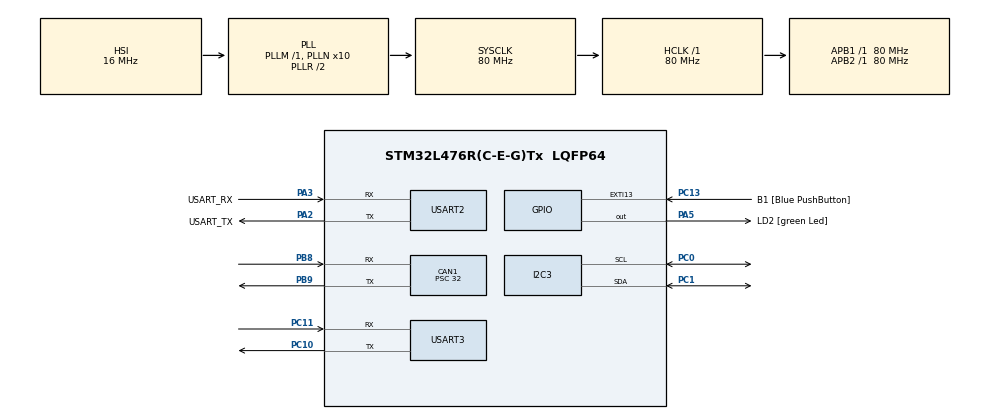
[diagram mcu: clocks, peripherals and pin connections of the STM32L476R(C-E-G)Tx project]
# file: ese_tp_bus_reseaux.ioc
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CAN1.BS1=CAN_BS1_3TQ
CAN1.CalculateBaudRate=500000
CAN1.CalculateTimeBit=2000.00
CAN1.CalculateTimeQuantum=400.0
CAN1.Prescaler=32
I2C3.Timing=0x10909CEC
Mcu.Family=STM32L4
Mcu.Name=STM32L476R(C-E-G)Tx
Mcu.Package=LQFP64
NVIC.PriorityGroup=NVIC_PRIORITYGROUP_4
NVIC.USART2_IRQn=true\:0\:0\:false\:false\:true\:true\:true
NVIC.USART3_IRQn=true\:0\:0\:false\:false\:true\:true\:true
PA13\ (JTMS-SWDIO).GPIO_Label=TMS
PA13\ (JTMS-SWDIO).Mode=Serial_Wire
PA13\ (JTMS-SWDIO).Signal=SYS_JTMS-SWDIO
PA14\ (JTCK-SWCLK).GPIO_Label=TCK
PA14\ (JTCK-SWCLK).Mode=Serial_Wire
PA14\ (JTCK-SWCLK).Signal=SYS_JTCK-SWCLK
PA2.GPIO_Label=USART_TX
PA2.GPIO_Mode=GPIO_MODE_AF_PP
PA2.GPIO_PuPd=GPIO_NOPULL
PA2.GPIO_Speed=GPIO_SPEED_FREQ_VERY_HIGH
PA2.Mode=Asynchronous
PA2.Signal=USART2_TX
PA3.GPIO_Label=USART_RX
PA3.GPIO_Mode=GPIO_MODE_AF_PP
PA3.GPIO_PuPd=GPIO_NOPULL
PA3.GPIO_Speed=GPIO_SPEED_FREQ_VERY_HIGH
PA3.Mode=Asynchronous
PA3.Signal=USART2_RX
PA5.GPIO_Label=LD2 [green Led]
PA5.GPIO_ModeDefaultOutputPP=GPIO_MODE_OUTPUT_PP
PA5.GPIO_PuPd=GPIO_NOPULL
PA5.GPIO_Speed=GPIO_SPEED_FREQ_LOW
PA5.Signal=GPIO_Output
PB3\ (JTDO-TRACESWO).GPIO_Label=SWO
PB3\ (JTDO-TRACESWO).Signal=SYS_JTDO-SWO
PB8.Mode=CAN_Activate
PB8.Signal=CAN1_RX
PB9.Mode=CAN_Activate
PB9.Signal=CAN1_TX
PC0.Mode=I2C
PC0.Signal=I2C3_SCL
PC1.Mode=I2C
PC1.Signal=I2C3_SDA
PC10.Mode=Asynchronous
PC10.Signal=USART3_TX
PC11.Mode=Asynchronous
PC11.Signal=USART3_RX
PC13.GPIO_Label=B1 [Blue PushButton]
PC13.GPIO_ModeDefaultEXTI=GPIO_MODE_IT_FALLING
PC13.GPIO_PuPd=GPIO_NOPULL
PC13.Signal=GPXTI13
PC14-OSC32_IN\ (PC14).Mode=LSE-External-Oscillator
PC14-OSC32_IN\ (PC14).Signal=RCC_OSC32_IN
PC15-OSC32_OUT\ (PC15).Mode=LSE-External-Oscillator
PC15-OSC32_OUT\ (PC15).Signal=RCC_OSC32_OUT
PH0-OSC_IN\ (PH0).Signal=RCC_OSC_IN
PH1-OSC_OUT\ (PH1).Signal=RCC_OSC_OUT
ProjectManager.HeapSize=0x200
ProjectManager.StackSize=0x400
ProjectManager.TargetToolchain=STM32CubeIDE
RCC.ADCFreq_Value=64000000
RCC.AHBFreq_Value=80000000
RCC.APB1Freq_Value=80000000
RCC.APB1TimFreq_Value=80000000
RCC.APB2Freq_Value=80000000
RCC.APB2TimFreq_Value=80000000
RCC.CortexFreq_Value=80000000
RCC.HCLKFreq_Value=80000000
RCC.HSE_VALUE=8000000
RCC.HSI_VALUE=16000000
RCC.MSI_VALUE=4000000
RCC.PLLN=10
RCC.PLLSourceVirtual=RCC_PLLSOURCE_HSI
RCC.PREFETCH_ENABLE=1
RCC.SYSCLKFreq_VALUE=80000000
RCC.SYSCLKSource=RCC_SYSCLKSOURCE_PLLCLK
RCC.USBFreq_Value=64000000
RCC.VCOOutputFreq_Value=160000000
USART2.VirtualMode-Asynchronous=VM_ASYNC
USART3.VirtualMode-Asynchronous=VM_ASYNC
board=NUCLEO-L476RG

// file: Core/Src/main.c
/* USER CODE BEGIN Header */
/**
 ******************************************************************************
 * @file           : main.c
 * @brief          : Main program body
 ******************************************************************************
 * @attention
 *
 * <h2><center>&copy; Copyright (c) 2021 STMicroelectronics.
 * All rights reserved.</center></h2>
 *
 * This software component is licensed by ST under BSD 3-Clause license,
 * the "License"; You may not use this file except in compliance with the
 * License. You may obtain a copy of the License at:
 *                        opensource.org/licenses/BSD-3-Clause
 *
 ******************************************************************************
 */
/* USER CODE END Header */
#include "main.h"
#include "can.h"
#include "i2c.h"
#include "usart.h"
#include "gpio.h"

/* USER CODE BEGIN Includes */
#include <stdio.h>
#include "SHELL.h"
#include "BMP280.h"
#include "STEPPER.h"
/* USER CODE END Includes */

void SystemClock_Config(void);

int main(void)
{

	/* MCU Configuration--------------------------------------------------------*/

	/* Reset of all peripherals, Initializes the Flash interface and the Systick. */
	HAL_Init();

	/* Configure the system clock */
	SystemClock_Config();

	/* Initialize all configured peripherals */
	MX_GPIO_Init();
	MX_USART2_UART_Init();
	MX_CAN1_Init();
	MX_I2C3_Init();
	MX_USART3_UART_Init();
	/* USER CODE BEGIN 2 */

	// Initialisations de nos bibliothèques
	Shell_Init(&Shell, &huart3);
	Stepper_Init(&Stepper, &hcan1);

	// Identification du BMP280
	//uint8_t bmp280_id = BMP280_GetID();
	//printf("BMP280\tID\t= 0x%x\r\n",bmp280_id);

	// Configuration du BMP280
	uint8_t bmp280_config = BMP280_SetConfig();
	//printf("BMP280\tCtMeas\t= 0x%x\r\n",bmp280_config);

	// Récupération de l'étalonnage, de la température et de la pression
	//uint8_t bmp280_calib[26] = {0};
	//BMP280_GetCalibration(bmp280_calib);

	uint8_t angle = 0, sign = 0;
	float previousTemp = 0;

	/* USER CODE END 2 */

	/* Infinite loop */
	/* USER CODE BEGIN WHILE */
	while (1)
	{
		/*
		// Rotation de 90° dans un sens puis dans l'autre
		static uint8_t sign = 0;
		sign = (sign+1)%2;
		Stepper_SetAngle(&Stepper, 90, sign);
		 */

		// Pilotage du moteur en fonction de la température
		float temp = BMP280_GetTemperature();
		angle = (temp - previousTemp) * Stepper.K; 	// Multiplication par le coefficient K
		previousTemp = temp;

		if(angle >= 0) 	sign = 0;
		else{
			sign = 1;
			angle*=-1;
		}
		Stepper_SetAngle(&Stepper, angle, sign);

		HAL_Delay(1000);
		/* USER CODE END WHILE */

	}
}

void SystemClock_Config(void)
{
	RCC_OscInitTypeDef RCC_OscInitStruct = {0};
	RCC_ClkInitTypeDef RCC_ClkInitStruct = {0};

	/** Configure the main internal regulator output voltage
	 */
	if (HAL_PWREx_ControlVoltageScaling(PWR_REGULATOR_VOLTAGE_SCALE1) != HAL_OK)
	{
		Error_Handler();
	}
	/** Initializes the RCC Oscillators according to the specified parameters
	 * in the RCC_OscInitTypeDef structure.
	 */
	RCC_OscInitStruct.OscillatorType = RCC_OSCILLATORTYPE_HSI;
	RCC_OscInitStruct.HSIState = RCC_HSI_ON;
	RCC_OscInitStruct.HSICalibrationValue = RCC_HSICALIBRATION_DEFAULT;
	RCC_OscInitStruct.PLL.PLLState = RCC_PLL_ON;
	RCC_OscInitStruct.PLL.PLLSource = RCC_PLLSOURCE_HSI;
	RCC_OscInitStruct.PLL.PLLM = 1;
	RCC_OscInitStruct.PLL.PLLN = 10;
	RCC_OscInitStruct.PLL.PLLP = RCC_PLLP_DIV7;
	RCC_OscInitStruct.PLL.PLLQ = RCC_PLLQ_DIV2;
	RCC_OscInitStruct.PLL.PLLR = RCC_PLLR_DIV2;
	if (HAL_RCC_OscConfig(&RCC_OscInitStruct) != HAL_OK)
	{
		Error_Handler();
	}
	/** Initializes the CPU, AHB and APB buses clocks
	 */
	RCC_ClkInitStruct.ClockType = RCC_CLOCKTYPE_HCLK|RCC_CLOCKTYPE_SYSCLK
			|RCC_CLOCKTYPE_PCLK1|RCC_CLOCKTYPE_PCLK2;
	RCC_ClkInitStruct.SYSCLKSource = RCC_SYSCLKSOURCE_PLLCLK;
	RCC_ClkInitStruct.AHBCLKDivider = RCC_SYSCLK_DIV1;
	RCC_ClkInitStruct.APB1CLKDivider = RCC_HCLK_DIV1;
	RCC_ClkInitStruct.APB2CLKDivider = RCC_HCLK_DIV1;

	if (HAL_RCC_ClockConfig(&RCC_ClkInitStruct, FLASH_LATENCY_4) != HAL_OK)
	{
		Error_Handler();
	}
}

/* USER CODE BEGIN 4 */

void HAL_UART_RxCpltCallback(UART_HandleTypeDef* huart){

	if(huart->Instance == USART2){
		Shell_CharReceived(&Shell, charReceived);
		HAL_UART_Receive_IT(&huart2, (uint8_t*)&charReceived, 1);
	}

	if(huart->Instance == USART3){
		Shell_CharReceived(&Shell, charReceived);
		HAL_UART_Receive_IT(&huart3, (uint8_t*)&charReceived, 1);

		// Visualisation de la trame provenant de la Raspberry
		HAL_UART_Transmit(&huart2, (uint8_t*)&charReceived, 1, HAL_MAX_DELAY);
	}
}

/* USER CODE END 4 */

void Error_Handler(void)
{
	__disable_irq();
	while (1)
	{
	}
}

/************************ (C) COPYRIGHT STMicroelectronics *****END OF FILE****/
